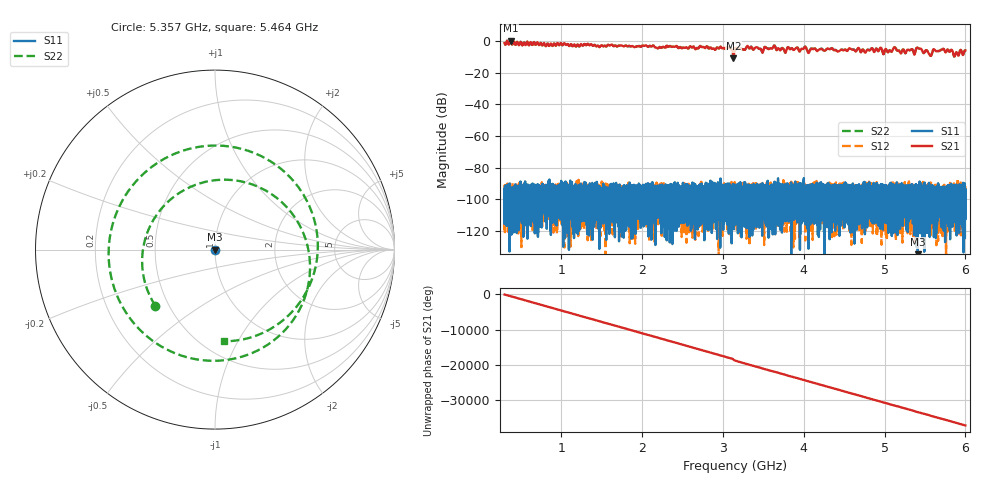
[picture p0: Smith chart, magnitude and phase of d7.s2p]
!Agilent Technologies,N5230C,SG49000117,A.08.50.07
!Agilent N5230C: A.08.50.07
!Date: Sunday, March 17, 2024 06:28:05
!Correction: S11(Off)
!S21(Off)
!S12(Off)
!S22(Off)
!S2P File: Measurements: S11, S21, S12, S22:
# Hz S  RI  R 50
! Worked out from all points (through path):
!   20001 points, 300 MHz to 6 GHz, reference 50 ohm
!   highest |S21| = 0.40 dB at 373 MHz (marker M1); lowest = -10.8 dB at 3.131 GHz (marker M2)
!   lowest |S11| = -138.7 dB at 5.411 GHz (marker M3), VSWR 1.00, Z = 50 - j9.07e-06 ohm
!   |S11| at or under -10 dB: start of sweep to end of sweep
!   |S22| runs from -10.8 to 0.4 dB; largest |S21 - S12| = 1
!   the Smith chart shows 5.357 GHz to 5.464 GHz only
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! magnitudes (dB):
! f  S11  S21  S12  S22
! 300 MHz  -100.4  -1.1  -114.0  -1.1
! 373 MHz  -97.1  0.4  -100.8  0.4
! 1.25 GHz  -94.0  -2.0  -97.2  -2.0
! 2.2 GHz  -102.5  -4.4  -105.1  -4.4
! 3.07 GHz  -102.5  -4.0  -95.4  -4.0
! 3.131 GHz  -95.5  -10.8  -91.3  -10.8
! 3.15 GHz  -114.4  -4.5  -95.2  -4.4
! 3.322 GHz  -91.1  -4.4  -94.2  -4.4
! 3.476 GHz  -101.5  -5.6  -92.3  -5.6
! 3.625 GHz  -96.0  -3.4  -98.5  -3.3
! 3.766 GHz  -101.1  -6.7  -97.2  -6.7
! 4.1 GHz  -96.3  -4.7  -106.3  -4.6
! 5.05 GHz  -100.8  -6.6  -94.4  -6.5
! 5.126 GHz  -99.3  -4.0  -114.7  -3.9
! 5.187 GHz  -99.9  -6.6  -100.9  -6.5
! 5.36 GHz  -97.5  -7.4  -95.5  -7.4
! 5.411 GHz  -138.7  -4.3  -98.5  -4.3
! 5.563 GHz  -97.0  -8.9  -93.8  -9.0
! 5.616 GHz  -93.4  -5.3  -109.0  -5.3
! 5.712 GHz  -103.1  -5.2  -97.8  -5.3
! 5.885 GHz  -98.3  -7.3  -91.0  -7.3
! 6 GHz  -100.2  -5.8  -93.2  -5.9
